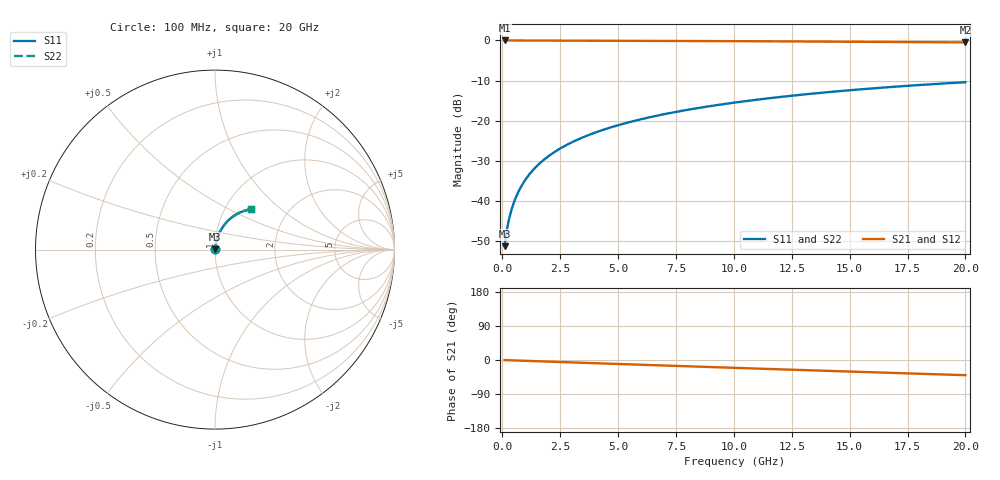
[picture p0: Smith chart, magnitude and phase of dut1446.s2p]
! Touchstone file exported from HFSS 2026.1.0
!  File:  C:/ffzhzh/LocalFiles/Ansys_Project_Files/temp_train_TMRDL_1446_1783167119_22436.aedt
!  Generated:  08:13:17 PM Jul  4, 2026
!  Design:  TMRDL
!  Project:  temp_train_TMRDL_1446_1783167119_22436
! Variables:
!  h_bsmrdl = 2um
!  h_ox = 20um
!  h_rdl = 5um
!  h_sub = 80um
!  h_tmrdl = 4.72um
!  h_tsv = 80um
!  h_via = 3um
!  l_bsmrdl = 300um
!  l_sub = 1015.49um
!  l_tmrdl = 615.49um
!  m_sub = 200um
!  pitch = 52.82um
!  r_tsv = 6um
!  s_tmrdl = 10um
!  w_bsmrdl = 18um
!  w_sub = 500um
!  w_tmrdl = 29.65um
!  x_tsv_center1 = 630.315um
!  x_tsv_center2 = 948.315um
!  x_tsv_center3 = 1593.455um
!  x_tsv_center4 = 1911.455um
!  x_tsv_center5 = 2556.595um
!  x_tsv_center6 = 2874.595um
# GHz S MA R 50.000000
! Terminal data exported
! Port[1] = TM_RDL1_1_T1
! Port[2] = TM_RDL1_1_T2
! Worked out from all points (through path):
!   200 points, 100 MHz to 20 GHz, reference 50 ohm
!   highest |S21| = -0.02 dB at 100 MHz (marker M1); lowest = -0.5 dB at 20 GHz (marker M2)
!   group delay of S21, straight-line fit = 5.56 ps
!   lowest |S11| = -51.3 dB at 100 MHz (marker M3), VSWR 1.01, Z = 50.2 + j0.204 ohm
!   |S11| at or under -10 dB: start of sweep to end of sweep
!   |S22| runs from -51.3 to -10.4 dB; largest |S21 - S12| = 2.7e-15
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0.1  0.002722 48.3  0.9982 -0.2  0.9982 -0.2  0.002722 48.3
! Gamma 0 0 0 0
! Port Impedance 50 0 50 0
0.2  0.004385 62.8  0.998 -0.4  0.998 -0.4  0.004385 62.8
0.3  0.00608 69.2  0.9979 -0.7  0.9979 -0.7  0.00608 69.2
0.4  0.007794 72.9  0.9978 -0.9  0.9978 -0.9  0.007794 72.9
0.5  0.009528 75.4  0.9977 -1.1  0.9977 -1.1  0.009528 75.4
0.6  0.01128 77.1  0.9977 -1.3  0.9977 -1.3  0.01128 77.1
0.8  0.01481 79.2  0.9975 -1.7  0.9975 -1.7  0.01481 79.2
1.1  0.02015 80.6  0.9973 -2.4  0.9973 -2.4  0.02015 80.6
1.5  0.02727 81.2  0.997 -3.2  0.997 -3.2  0.02727 81.2
1.8  0.03259 81.2  0.9967 -3.8  0.9967 -3.8  0.03259 81.2
2.1  0.03789 81.0  0.9963 -4.5  0.9963 -4.5  0.03789 81.0
2.7  0.04841 80.3  0.9955 -5.7  0.9955 -5.7  0.04841 80.3
3.5  0.06223 79.0  0.9942 -7.4  0.9942 -7.4  0.06223 79.0
4.2  0.07415 77.8  0.9929 -8.9  0.9929 -8.9  0.07415 77.8
5  0.08758 76.3  0.9913 -10.5  0.9913 -10.5  0.08758 76.3
5.9  0.1025 74.6  0.9894 -12.4  0.9894 -12.4  0.1025 74.6
6.8  0.1171 72.9  0.9873 -14.2  0.9873 -14.2  0.1171 72.9
8.3  0.141 70.1  0.9835 -17.3  0.9835 -17.3  0.141 70.1
10.1  0.1689 66.7  0.9785 -20.9  0.9785 -20.9  0.1689 66.7
13.4  0.2171 60.5  0.9681 -27.4  0.9681 -27.4  0.2171 60.5
16.7  0.2614 54.3  0.9564 -33.8  0.9564 -33.8  0.2614 54.3
20  0.3013 48.2  0.9442 -40.0  0.9442 -40.0  0.3013 48.3
